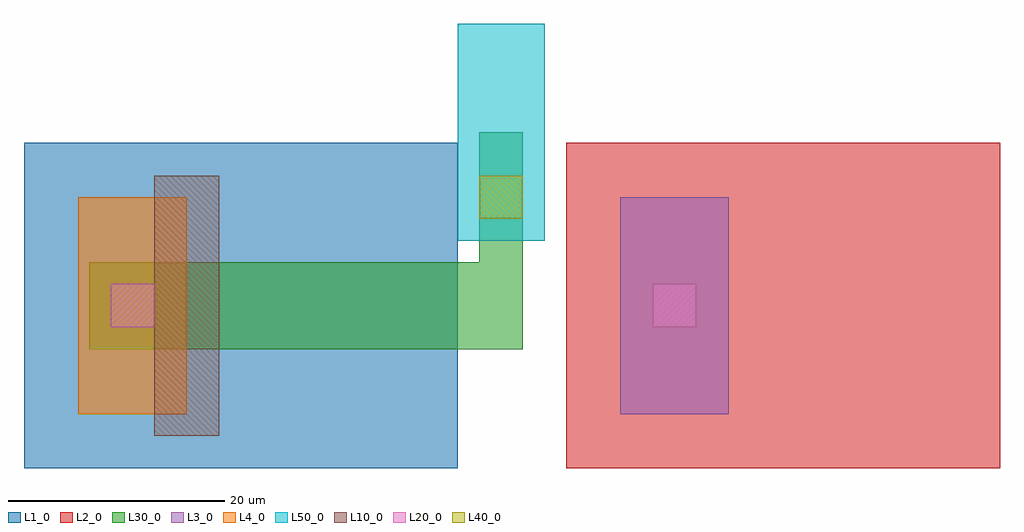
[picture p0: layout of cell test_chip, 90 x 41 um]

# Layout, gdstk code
import gdstk
lib = gdstk.Library(unit=1e-6, precision=1e-09)
def R(c, l, rs):  # rectangles x0, y0, x1, y1
    for r in rs: c.add(gdstk.rectangle(r[:2], r[2:], *l))
L1_0 = (1, 0)
L2_0 = (2, 0)
L3_0 = (3, 0)
L4_0 = (4, 0)
L10_0 = (10, 0)
L20_0 = (20, 0)
L30_0 = (30, 0)
L40_0 = (40, 0)
L50_0 = (50, 0)

test_chip = lib.new_cell('test_chip')
R(test_chip, L1_0, [(0,0,40,30)])
R(test_chip, L2_0, [(50,0,90,30)])
R(test_chip, L3_0, [(55,5,65,25)])
R(test_chip, L4_0, [(5,5,15,25)])
R(test_chip, L10_0, [(12,3,18,27)])
R(test_chip, L20_0, [(8,13,12,17), (58,13,62,17)])
R(test_chip, L30_0, [(6,11,46,19), (42,11,46,31)])
R(test_chip, L40_0, [(42,23,46,27)])
R(test_chip, L50_0, [(40,21,48,41)])

lib.write_gds('test_chip.gds')
